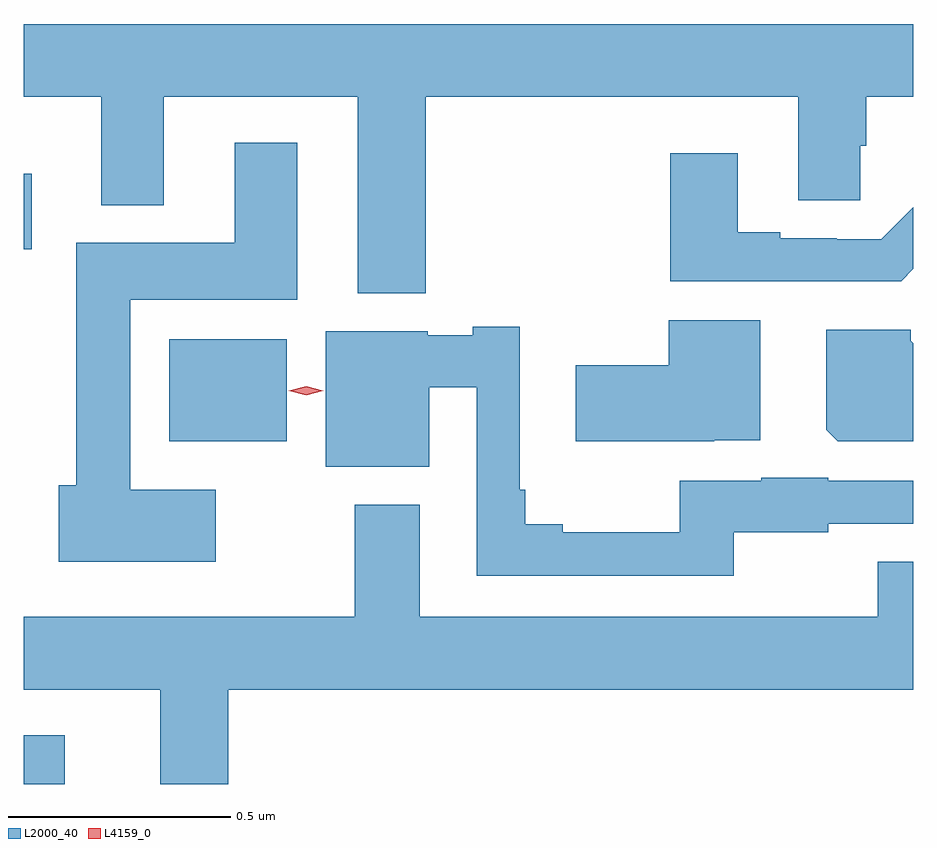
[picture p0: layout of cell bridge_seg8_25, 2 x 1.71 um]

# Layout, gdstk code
import gdstk
lib = gdstk.Library(unit=1e-6, precision=1e-09)
def R(c, l, rs):  # rectangles x0, y0, x1, y1
    for r in rs: c.add(gdstk.rectangle(r[:2], r[2:], *l))
def P(c, l, *ps):  # polygons
    for p in ps: c.add(gdstk.Polygon(p, *l))
L2000_40 = (2000, 40)
L4159_0 = (4159, 0)

bridge_seg8_25 = lib.new_cell('bridge_seg8_25')
R(bridge_seg8_25, L2000_40, [(890.074,1125.612,890.167,1125.721), (890.402,1126.382,890.665,1126.612), (890.074,1126.814,890.092,1126.984)])
P(bridge_seg8_25, L2000_40, [(890.978,1127.156),(891.815,1127.156),(891.815,1126.924),(891.954,1126.924),(891.954,1127.046),(891.968,1127.046),(891.968,1127.156),(892.074,1127.156),(892.074,1127.32),(890.074,1127.32),(890.074,1127.156),(890.249,1127.156),(890.249,1126.913),(890.389,1126.913),(890.389,1127.156),(890.825,1127.156),(890.825,1126.715),(890.978,1126.715)],
  [(890.506,1126.273),(890.314,1126.273),(890.314,1126.7),(890.689,1126.7),(890.689,1127.053),(890.549,1127.053),(890.549,1126.828),(890.192,1126.828),(890.192,1126.283),(890.153,1126.283),(890.153,1126.112),(890.506,1126.112)],
  [(892.074,1126.77),(892.074,1126.908),(892.002,1126.836),(891.902,1126.836),(891.902,1126.839),(891.775,1126.839),(891.775,1126.852),(891.679,1126.852),(891.679,1127.029),(891.527,1127.029),(891.527,1126.742),(892.046,1126.742)],
  [(891.626,1126.385),(891.73,1126.385),(891.73,1126.654),(891.524,1126.654),(891.524,1126.553),(891.315,1126.553),(891.315,1126.382),(891.626,1126.382)],
  [(891.67,1126.178),(891.882,1126.178),(891.882,1126.197),(892.074,1126.197),(892.074,1126.293),(891.882,1126.293),(891.882,1126.3),(891.732,1126.3),(891.732,1126.294),(891.549,1126.294),(891.549,1126.178),(891.286,1126.178),(891.286,1126.196),(891.202,1126.196),(891.202,1126.273),(891.189,1126.273),(891.189,1126.64),(891.084,1126.64),(891.084,1126.62),(890.982,1126.62),(890.982,1126.63),(890.753,1126.63),(890.753,1126.325),(890.986,1126.325),(890.986,1126.504),(891.093,1126.504),(891.093,1126.08),(891.67,1126.08)],
  [(892.074,1126.602),(892.068,1126.608),(892.068,1126.633),(891.878,1126.633),(891.878,1126.408),(891.904,1126.382),(892.074,1126.382)],
  [(890.534,1125.824),(892.074,1125.824),(892.074,1126.112),(891.994,1126.112),(891.994,1125.988),(890.965,1125.988),(890.965,1126.24),(890.818,1126.24),(890.818,1125.988),(890.074,1125.988),(890.074,1125.824),(890.381,1125.824),(890.381,1125.612),(890.534,1125.612)])
P(bridge_seg8_25, L4159_0, [(890.709,1126.486),(890.67,1126.496),(890.67,1126.496),(890.67,1126.496),(890.709,1126.506),(890.748,1126.496),(890.748,1126.496),(890.748,1126.496)])

lib.write_gds('bridge_seg8_25.gds')
